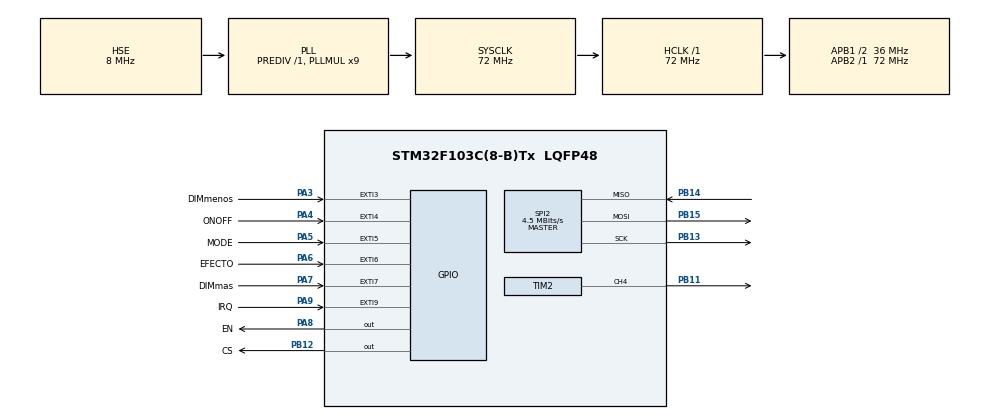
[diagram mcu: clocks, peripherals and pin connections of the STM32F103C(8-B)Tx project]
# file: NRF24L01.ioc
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Dma.Request0=TIM2_CH2/CH4
Dma.TIM2_CH2/CH4.0.Direction=DMA_MEMORY_TO_PERIPH
Dma.TIM2_CH2/CH4.0.Instance=DMA1_Channel7
Dma.TIM2_CH2/CH4.0.MemDataAlignment=DMA_MDATAALIGN_HALFWORD
Dma.TIM2_CH2/CH4.0.MemInc=DMA_MINC_ENABLE
Dma.TIM2_CH2/CH4.0.Mode=DMA_NORMAL
Dma.TIM2_CH2/CH4.0.PeriphDataAlignment=DMA_PDATAALIGN_HALFWORD
Dma.TIM2_CH2/CH4.0.PeriphInc=DMA_PINC_DISABLE
Dma.TIM2_CH2/CH4.0.Priority=DMA_PRIORITY_LOW
Mcu.Family=STM32F1
Mcu.Name=STM32F103C(8-B)Tx
Mcu.Package=LQFP48
NVIC.DMA1_Channel7_IRQn=true\:0\:0\:false\:false\:true\:false\:true\:true
NVIC.EXTI3_IRQn=true\:0\:0\:false\:false\:true\:true\:true\:true
NVIC.EXTI4_IRQn=true\:0\:0\:false\:false\:true\:true\:true\:true
NVIC.EXTI9_5_IRQn=true\:0\:0\:false\:false\:true\:true\:true\:true
NVIC.PriorityGroup=NVIC_PRIORITYGROUP_4
PA13.Mode=Serial_Wire
PA13.Signal=SYS_JTMS-SWDIO
PA14.Mode=Serial_Wire
PA14.Signal=SYS_JTCK-SWCLK
PA3.GPIO_Label=DIMmenos
PA3.GPIO_ModeDefaultEXTI=GPIO_MODE_IT_FALLING
PA3.GPIO_PuPd=GPIO_PULLUP
PA3.Signal=GPXTI3
PA4.GPIO_Label=ONOFF
PA4.GPIO_ModeDefaultEXTI=GPIO_MODE_IT_FALLING
PA4.GPIO_PuPd=GPIO_PULLUP
PA4.Signal=GPXTI4
PA5.GPIO_Label=MODE
PA5.GPIO_ModeDefaultEXTI=GPIO_MODE_IT_FALLING
PA5.GPIO_PuPd=GPIO_PULLUP
PA5.Signal=GPXTI5
PA6.GPIO_Label=EFECTO
PA6.GPIO_ModeDefaultEXTI=GPIO_MODE_IT_FALLING
PA6.GPIO_PuPd=GPIO_PULLUP
PA6.Signal=GPXTI6
PA7.GPIO_Label=DIMmas
PA7.GPIO_ModeDefaultEXTI=GPIO_MODE_IT_FALLING
PA7.GPIO_PuPd=GPIO_PULLUP
PA7.Signal=GPXTI7
PA8.GPIO_Label=EN
PA8.GPIO_Speed=GPIO_SPEED_FREQ_HIGH
PA8.PinState=GPIO_PIN_RESET
PA8.Signal=GPIO_Output
PA9.GPIO_Label=IRQ
PA9.GPIO_ModeDefaultEXTI=GPIO_MODE_IT_FALLING
PA9.Signal=GPXTI9
PB11.Signal=S_TIM2_CH4
PB12.GPIO_Label=CS
PB12.PinState=GPIO_PIN_SET
PB12.Signal=GPIO_Output
PB13.Mode=Full_Duplex_Master
PB13.Signal=SPI2_SCK
PB14.Mode=Full_Duplex_Master
PB14.Signal=SPI2_MISO
PB15.Mode=Full_Duplex_Master
PB15.Signal=SPI2_MOSI
PC14-OSC32_IN.Mode=LSE-External-Oscillator
PC14-OSC32_IN.Signal=RCC_OSC32_IN
PC15-OSC32_OUT.Mode=LSE-External-Oscillator
PC15-OSC32_OUT.Signal=RCC_OSC32_OUT
PD0-OSC_IN.Mode=HSE-External-Oscillator
PD0-OSC_IN.Signal=RCC_OSC_IN
PD1-OSC_OUT.Mode=HSE-External-Oscillator
PD1-OSC_OUT.Signal=RCC_OSC_OUT
ProjectManager.HeapSize=0x200
ProjectManager.StackSize=0x400
ProjectManager.TargetToolchain=STM32CubeIDE
RCC.AHBFreq_Value=72000000
RCC.APB1CLKDivider=RCC_HCLK_DIV2
RCC.APB1Freq_Value=36000000
RCC.APB1TimFreq_Value=72000000
RCC.APB2Freq_Value=72000000
RCC.APB2TimFreq_Value=72000000
RCC.HCLKFreq_Value=72000000
RCC.PLLMUL=RCC_PLL_MUL9
RCC.PLLSourceVirtual=RCC_PLLSOURCE_HSE
RCC.SYSCLKFreq_VALUE=72000000
RCC.SYSCLKSource=RCC_SYSCLKSOURCE_PLLCLK
RCC.USBFreq_Value=72000000
SH.S_TIM2_CH4.0=TIM2_CH4,PWM Generation4 CH4
SPI2.BaudRatePrescaler=SPI_BAUDRATEPRESCALER_8
SPI2.CalculateBaudRate=4.5 MBits/s
SPI2.Direction=SPI_DIRECTION_2LINES
SPI2.Mode=SPI_MODE_MASTER
SPI2.VirtualType=VM_MASTER
TIM2.Channel-PWM\ Generation4\ CH4=TIM_CHANNEL_4
TIM2.Period=72-1
board=custom

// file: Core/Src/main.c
/* USER CODE BEGIN Header */
/**
  ******************************************************************************
  * @file           : main.c
  * @brief          : Main program body
  ******************************************************************************
  * @attention
  *
  * Copyright (c) 2024 STMicroelectronics.
  * All rights reserved.
  *
  * This software is licensed under terms that can be found in the LICENSE file
  * in the root directory of this software component.
  * If no LICENSE file comes with this software, it is provided AS-IS.
  *
  ******************************************************************************
  */
/* USER CODE END Header */
#include "main.h"

/* USER CODE BEGIN Includes */

/*
 * Nativas de C
 */
#include "stdbool.h"
#include "math.h"

/*
 * INCLUDES DEL USUARIO
 */
#include "NRF24L01.h"
#include "WS2812B.h"

/* USER CODE END Includes */

/* USER CODE BEGIN PTD */
TIRA_t rgbLED;
/* USER CODE END PTD */

/* USER CODE BEGIN PD */
#define manual //Manual

#define PI 3.1416
/* USER CODE END PD */

SPI_HandleTypeDef hspi2;

TIM_HandleTypeDef htim2;
DMA_HandleTypeDef hdma_tim2_ch2_ch4;

/* USER CODE BEGIN PV */
/*
  * BANDERAS Y ENTRADAS
  * PARA LA MAQUINA DE ESTADOS
  */
 bool mode = true; //RGB o LUZblanca
 uint8_t efecto = 0; //Seleciona el efecto deseado
 uint8_t dim = 0; //Dimmer para el efecto de luz blanca

//Vector de informacion a transmitir
uint8_t tx_data[NRF24L01P_PAYLOAD_LENGTH] = {0,0,0};
/* USER CODE END PV */

void SystemClock_Config(void);
static void MX_GPIO_Init(void);
static void MX_DMA_Init(void);
static void MX_SPI2_Init(void);
static void MX_TIM2_Init(void);
/* USER CODE BEGIN PFP */

/*
 * Onoff
 */
void ONOFF(void);

/*
 * Efectos RGB
 */
void EFECTO1(void);
void EFECTO2(void);
void EFECTO3(void);
void EFECTO4(void);
void EFECTO5(void);

/*
 * Efectos de luz blanca
 */
void LUZ_BLANCA(uint8_t dim);
/* USER CODE END PFP */

int main(void)
{

  /* MCU Configuration--------------------------------------------------------*/

  /* Reset of all peripherals, Initializes the Flash interface and the Systick. */
  HAL_Init();

  /* Configure the system clock */
  SystemClock_Config();

  /* Initialize all configured peripherals */
  MX_GPIO_Init();
  MX_DMA_Init();
  MX_SPI2_Init();
  MX_TIM2_Init();
  /* USER CODE BEGIN 2 */

  /*
   * Configuramos el transciver
   * CANAL 2500Mhz
   * Baudrate en 1Mbps
   */
  nrf24l01p_tx_init(2500, _1Mbps);

  //inicializamos la bandera de la tira
  Init_tira(&rgbLED);
  WS2812_Send(&rgbLED);

  /* USER CODE END 2 */

  /* Infinite loop */
  while (1)
  {

    /* USER CODE BEGIN 3 */

	#ifdef automatic
	//Transmitimos datos
	nrf24l01p_tx_transmit(tx_data);

	//Siguiente paquete a mandar

	if (efecto>4) {
		efecto=0;
		mode ^= true;
	}else{
		efecto++;
	}

	tx_data[0] = mode;
	tx_data[1] = efecto;
	tx_data[2] = dim;
	dim += 51;

	if (mode == false) {
		HAL_Delay(25);
	}else
	{
		HAL_Delay(3000);
	}
	#endif

  }
  /* USER CODE END 3 */
}

void SystemClock_Config(void)
{
  RCC_OscInitTypeDef RCC_OscInitStruct = {0};
  RCC_ClkInitTypeDef RCC_ClkInitStruct = {0};

  /** Initializes the RCC Oscillators according to the specified parameters
  * in the RCC_OscInitTypeDef structure.
  */
  RCC_OscInitStruct.OscillatorType = RCC_OSCILLATORTYPE_HSE;
  RCC_OscInitStruct.HSEState = RCC_HSE_ON;
  RCC_OscInitStruct.HSEPredivValue = RCC_HSE_PREDIV_DIV1;
  RCC_OscInitStruct.HSIState = RCC_HSI_ON;
  RCC_OscInitStruct.PLL.PLLState = RCC_PLL_ON;
  RCC_OscInitStruct.PLL.PLLSource = RCC_PLLSOURCE_HSE;
  RCC_OscInitStruct.PLL.PLLMUL = RCC_PLL_MUL9;
  if (HAL_RCC_OscConfig(&RCC_OscInitStruct) != HAL_OK)
  {
    Error_Handler();
  }

  /** Initializes the CPU, AHB and APB buses clocks
  */
  RCC_ClkInitStruct.ClockType = RCC_CLOCKTYPE_HCLK|RCC_CLOCKTYPE_SYSCLK
                              |RCC_CLOCKTYPE_PCLK1|RCC_CLOCKTYPE_PCLK2;
  RCC_ClkInitStruct.SYSCLKSource = RCC_SYSCLKSOURCE_PLLCLK;
  RCC_ClkInitStruct.AHBCLKDivider = RCC_SYSCLK_DIV1;
  RCC_ClkInitStruct.APB1CLKDivider = RCC_HCLK_DIV2;
  RCC_ClkInitStruct.APB2CLKDivider = RCC_HCLK_DIV1;

  if (HAL_RCC_ClockConfig(&RCC_ClkInitStruct, FLASH_LATENCY_2) != HAL_OK)
  {
    Error_Handler();
  }
}

static void MX_SPI2_Init(void)
{

  /* SPI2 parameter configuration*/
  hspi2.Instance = SPI2;
  hspi2.Init.Mode = SPI_MODE_MASTER;
  hspi2.Init.Direction = SPI_DIRECTION_2LINES;
  hspi2.Init.DataSize = SPI_DATASIZE_8BIT;
  hspi2.Init.CLKPolarity = SPI_POLARITY_LOW;
  hspi2.Init.CLKPhase = SPI_PHASE_1EDGE;
  hspi2.Init.NSS = SPI_NSS_SOFT;
  hspi2.Init.BaudRatePrescaler = SPI_BAUDRATEPRESCALER_8;
  hspi2.Init.FirstBit = SPI_FIRSTBIT_MSB;
  hspi2.Init.TIMode = SPI_TIMODE_DISABLE;
  hspi2.Init.CRCCalculation = SPI_CRCCALCULATION_DISABLE;
  hspi2.Init.CRCPolynomial = 10;
  if (HAL_SPI_Init(&hspi2) != HAL_OK)
  {
    Error_Handler();
  }

}

static void MX_TIM2_Init(void)
{

  TIM_MasterConfigTypeDef sMasterConfig = {0};
  TIM_OC_InitTypeDef sConfigOC = {0};

  htim2.Instance = TIM2;
  htim2.Init.Prescaler = 0;
  htim2.Init.CounterMode = TIM_COUNTERMODE_UP;
  htim2.Init.Period = 72-1;
  htim2.Init.ClockDivision = TIM_CLOCKDIVISION_DIV1;
  htim2.Init.AutoReloadPreload = TIM_AUTORELOAD_PRELOAD_DISABLE;
  if (HAL_TIM_PWM_Init(&htim2) != HAL_OK)
  {
    Error_Handler();
  }
  sMasterConfig.MasterOutputTrigger = TIM_TRGO_RESET;
  sMasterConfig.MasterSlaveMode = TIM_MASTERSLAVEMODE_DISABLE;
  if (HAL_TIMEx_MasterConfigSynchronization(&htim2, &sMasterConfig) != HAL_OK)
  {
    Error_Handler();
  }
  sConfigOC.OCMode = TIM_OCMODE_PWM1;
  sConfigOC.Pulse = 0;
  sConfigOC.OCPolarity = TIM_OCPOLARITY_HIGH;
  sConfigOC.OCFastMode = TIM_OCFAST_DISABLE;
  if (HAL_TIM_PWM_ConfigChannel(&htim2, &sConfigOC, TIM_CHANNEL_4) != HAL_OK)
  {
    Error_Handler();
  }
  HAL_TIM_MspPostInit(&htim2);

}

static void MX_DMA_Init(void)
{

  /* DMA controller clock enable */
  __HAL_RCC_DMA1_CLK_ENABLE();

  /* DMA interrupt init */
  /* DMA1_Channel7_IRQn interrupt configuration */
  HAL_NVIC_SetPriority(DMA1_Channel7_IRQn, 0, 0);
  HAL_NVIC_EnableIRQ(DMA1_Channel7_IRQn);

}

static void MX_GPIO_Init(void)
{
  GPIO_InitTypeDef GPIO_InitStruct = {0};

  /* GPIO Ports Clock Enable */
  __HAL_RCC_GPIOC_CLK_ENABLE();
  __HAL_RCC_GPIOD_CLK_ENABLE();
  __HAL_RCC_GPIOA_CLK_ENABLE();
  __HAL_RCC_GPIOB_CLK_ENABLE();

  /*Configure GPIO pin Output Level */
  HAL_GPIO_WritePin(CS_GPIO_Port, CS_Pin, GPIO_PIN_SET);

  /*Configure GPIO pin Output Level */
  HAL_GPIO_WritePin(EN_GPIO_Port, EN_Pin, GPIO_PIN_RESET);

  /*Configure GPIO pins : DIMmenos_Pin ONOFF_Pin MODE_Pin EFECTO_Pin
                           DIMmas_Pin */
  GPIO_InitStruct.Pin = DIMmenos_Pin|ONOFF_Pin|MODE_Pin|EFECTO_Pin
                          |DIMmas_Pin;
  GPIO_InitStruct.Mode = GPIO_MODE_IT_FALLING;
  GPIO_InitStruct.Pull = GPIO_PULLUP;
  HAL_GPIO_Init(GPIOA, &GPIO_InitStruct);

  /*Configure GPIO pin : CS_Pin */
  GPIO_InitStruct.Pin = CS_Pin;
  GPIO_InitStruct.Mode = GPIO_MODE_OUTPUT_PP;
  GPIO_InitStruct.Pull = GPIO_NOPULL;
  GPIO_InitStruct.Speed = GPIO_SPEED_FREQ_LOW;
  HAL_GPIO_Init(CS_GPIO_Port, &GPIO_InitStruct);

  /*Configure GPIO pin : EN_Pin */
  GPIO_InitStruct.Pin = EN_Pin;
  GPIO_InitStruct.Mode = GPIO_MODE_OUTPUT_PP;
  GPIO_InitStruct.Pull = GPIO_NOPULL;
  GPIO_InitStruct.Speed = GPIO_SPEED_FREQ_HIGH;
  HAL_GPIO_Init(EN_GPIO_Port, &GPIO_InitStruct);

  /*Configure GPIO pin : IRQ_Pin */
  GPIO_InitStruct.Pin = IRQ_Pin;
  GPIO_InitStruct.Mode = GPIO_MODE_IT_FALLING;
  GPIO_InitStruct.Pull = GPIO_NOPULL;
  HAL_GPIO_Init(IRQ_GPIO_Port, &GPIO_InitStruct);

  /* EXTI interrupt init*/
  HAL_NVIC_SetPriority(EXTI3_IRQn, 0, 0);
  HAL_NVIC_EnableIRQ(EXTI3_IRQn);

  HAL_NVIC_SetPriority(EXTI4_IRQn, 0, 0);
  HAL_NVIC_EnableIRQ(EXTI4_IRQn);

  HAL_NVIC_SetPriority(EXTI9_5_IRQn, 0, 0);
  HAL_NVIC_EnableIRQ(EXTI9_5_IRQn);

}

/* USER CODE BEGIN 4 */

void HAL_GPIO_EXTI_Callback(uint16_t GPIO_Pin)
{
	if(GPIO_Pin == NRF24L01P_IRQ_PIN_NUMBER)
	{
		nrf24l01p_tx_irq();
	}

	#ifdef manual
	switch (GPIO_Pin)
	{
		case ONOFF_Pin:
			efecto = 5;
			EFECTO5();
			break;
		case MODE_Pin:
			mode ^= true;
			break;
		case EFECTO_Pin:

			if (efecto>4)
			{
				efecto=0;
			}else
			{
				efecto++;
			}
			break;
		case DIMmas_Pin:
			dim++;
			break;
		case DIMmenos_Pin:
			dim--;
			break;
		default:
			break;
	}

	tx_data[0] = mode;
	tx_data[1] = efecto;
	tx_data[2] = dim;

	if(tx_data[0])
		{
			switch (tx_data[1])
			{//EFECTOS DE RGB
				case 0:
					EFECTO1();
					break;
				case 1:
					EFECTO2();
					break;
				case 2:
					EFECTO3();
					break;
				case 3:
					EFECTO4();
					break;
				case 4:
					EFECTO5();
					break;
				case 5:
					ONOFF();
					break;
				default:
					break;
			}
		}else
		{//EFECTOS DE LUZ BLANCA
			LUZ_BLANCA(tx_data[2]);
		}

	nrf24l01p_tx_transmit(tx_data);
	#endif
}

/*
 * ONOFF
 */
void ONOFF(void)
{
	//Actualizamos los valores
	for (int num=0;num<MAX_LED;num++) {
		Set_LED(&rgbLED,num,0,0,0);
	}

	//Mandamos los valores
	WS2812_Send(&rgbLED);

	HAL_Delay(25);
}

/*
 * EFECTOS RGB
 */
uint8_t colores[3] = {0};
float N = 0; //timepo en iteracion
void EFECTO1(void)
{
	//Calculamos los colores para dar efecto
	colores[0] = (uint8_t)(254.0*((sin(N           )+1.0)/2.0));
	colores[1] = (uint8_t)(254.0*((sin(N + (2.0*PI)/3)+1.0)/2.0));
	colores[2] = (uint8_t)(254.0*((sin(N - (2.0*PI)/3)+1.0)/2.0));

	//Actualizamos los valores
	for (int num=0;num<MAX_LED;num++) {
		Set_LED(&rgbLED,num,colores[0],colores[1],colores[2]);
	}

	//Mandamos los valores
	WS2812_Send(&rgbLED);

	if( N <= (2.0*PI)) //Mayor a 360grados
	{
		N += PI/100; // +0.9GRADOS
	}
	else
	{
		N = 0;
	}

	HAL_Delay(15);
}
void EFECTO2(void)
{
	//Calculamos los colores para dar efecto
	switch ((uint8_t)N) {
		case 0:
			colores[0] = (uint8_t)(255);
			colores[1] = (uint8_t)(0);
			colores[2] = (uint8_t)(0);
			break;
		case 1:
			colores[0] = (uint8_t)(0);
			colores[1] = (uint8_t)(255);
			colores[2] = (uint8_t)(0);
			break;
		case 2:
			colores[0] = (uint8_t)(0);
			colores[1] = (uint8_t)(0);
			colores[2] = (uint8_t)(255);
			break;
		default:
			break;
	}

	//Actualizamos los valores
	for (int num=0;num<MAX_LED;num++) {
		Set_LED(&rgbLED,num,colores[0],colores[1],colores[2]);
	}

	//Mandamos los valores
	WS2812_Send(&rgbLED);

	if( N < 2)
	{
		N += 1;
	}
	else
	{
		N = 0;
	}

	HAL_Delay(750);
}
void EFECTO3(void)
{
	//Calculamos los colores para dar efecto
	switch ((uint8_t)N) {
		case 0:
			colores[0] = (uint8_t)(255);
			colores[1] = (uint8_t)(255);
			colores[2] = (uint8_t)(0);
			break;
		case 1:
			colores[0] = (uint8_t)(255);
			colores[1] = (uint8_t)(0);
			colores[2] = (uint8_t)(255);
			break;
		case 2:
			colores[0] = (uint8_t)(0);
			colores[1] = (uint8_t)(255);
			colores[2] = (uint8_t)(255);
			break;
		default:
			break;
	}

	//Actualizamos los valores
	for (int num=0;num<MAX_LED;num++) {
		Set_LED(&rgbLED,num,colores[0],colores[1],colores[2]);
	}

	//Mandamos los valores
	WS2812_Send(&rgbLED);

	if( N < 2)
	{
		N++;
	}
	else
	{
		N = 0;
	}

	HAL_Delay(750);
}
void EFECTO4(void)
{
	//Calculamos los colores para dar efecto
	colores[0] = (uint8_t)(254.0*((sin(N           )+1.0)/2.0));
	colores[1] = (uint8_t)(254.0*((sin(N + (2.0*PI)/3)+1.0)/4.0));
	colores[2] = (uint8_t)(254.0*((sin(N - (2.0*PI)/3)+1.0)/16.0));

	//Actualizamos los valores
	for (int num=0;num<MAX_LED;num++) {
		Set_LED(&rgbLED,num,colores[0],colores[1],colores[2]);
	}

	//Mandamos los valores
	WS2812_Send(&rgbLED);

	if( N <= (2.0*PI)) //Mayor a 360grados
	{
		N += PI/100; // +0.9GRADOS
	}
	else
	{
		N = 0;
	}

	HAL_Delay(15);
}
void EFECTO5(void)
{
	//Calculamos los colores para dar efecto
	colores[0] = (uint8_t)(254.0*((sin(N + PI/2)+1.0)/2.0));
	colores[1] = (uint8_t)(254.0*((sin(N)       +1.0)/2.0));
	colores[2] = (uint8_t)(254.0*((sin(N - PI/2)+1.0)/2.0));

	//Actualizamos los valores
	for (int num=0;num<MAX_LED;num++) {
		Set_LED(&rgbLED,num,colores[0],colores[1],colores[2]);
	}

	//Mandamos los valores
	WS2812_Send(&rgbLED);

	if( N <= (2.0*PI)) //Mayor a 360grados
	{
		N += PI/100; // +0.9GRADOS
	}
	else
	{
		N = 0;
	}

	HAL_Delay(15);
}

/*
 * EFECTO DE LUZ BLANCA
 */
void LUZ_BLANCA(uint8_t dim)
{
	/*
	 * En que punto estamos?
	 * Cuantos nos vamos a mover
	 *
	 * hot                 cold
	 * 254 <-------------> 0
	 *
	 */
	//Calculamos los colores para dar efecto
	colores[0] = dim;//R
	colores[2] = 254-dim; //G

	//Actualizamos los valores
	for (int num=0;num<MAX_LED;num++)
	{
		Set_LED(&rgbLED,num,colores[0],110,colores[2]);
	}

	//Mandamos los valores
	WS2812_Send(&rgbLED);

}

/* USER CODE END 4 */

void Error_Handler(void)
{
  __disable_irq();
  while (1)
  {
  }
}
